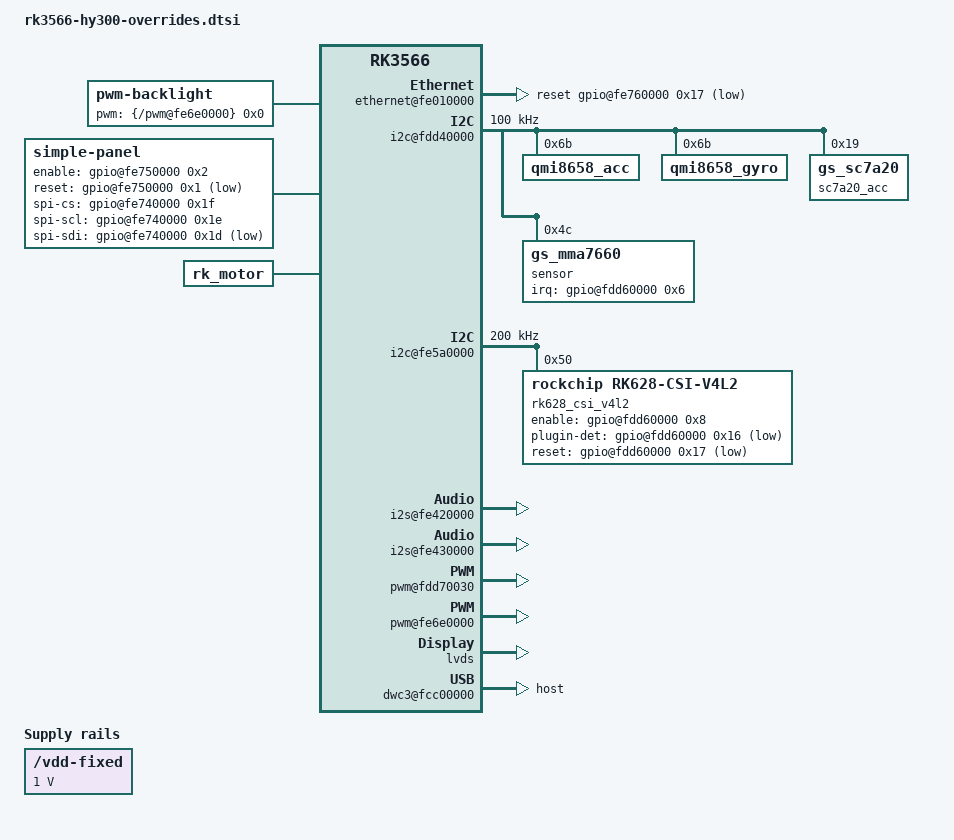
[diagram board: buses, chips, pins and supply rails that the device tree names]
/* Gerado por tools/dtoverride.py — sobrescritas sobre a placa de referência */

&{/adc-keys} { /delete-node/ vol-down-key; };
&{/adc-keys} { /delete-node/ vol-up-key; };
&{/cpu0-opp-table} { /delete-node/ opp-408000000; };
&{/cpu0-opp-table} { /delete-node/ opp-600000000; };
&{/csi2-dphy0/ports/port@0} { /delete-node/ endpoint@1; };
&{/csi2-dphy0/ports/port@0} { /delete-node/ endpoint@2; };
&{/csi2-dphy0/ports/port@1} { /delete-node/ endpoint@1; };
&{/gpio-leds} { /delete-node/ ir-led; };
&{/gpio-leds} { /delete-node/ work-led; };
&{/i2c@fe5b0000} { /delete-node/ gc4c33@29; };
&{/i2c@fe5b0000} { /delete-node/ gc8034@37; };
&{/opp-table2} { /delete-node/ opp-200000000; };
&{/opp-table2} { /delete-node/ opp-300000000; };
&{/pinctrl} { /delete-node/ audiopwm; };
&{/pinctrl} { /delete-node/ bt1120; };
&{/pinctrl} { /delete-node/ bt656; };
&{/pinctrl/cam} { /delete-node/ cam-clkout0; };
&{/pinctrl/cam} { /delete-node/ cam-clkout1; };
&{/pinctrl} { /delete-node/ can0; };
&{/pinctrl} { /delete-node/ can1; };
&{/pinctrl} { /delete-node/ can2; };
&{/pinctrl} { /delete-node/ cif; };
&{/pinctrl} { /delete-node/ clk32k; };
&{/pinctrl} { /delete-node/ cpu; };
&{/pinctrl/ebc} { /delete-node/ ebc-extern; };
&{/pinctrl} { /delete-node/ edpdp; };
&{/pinctrl} { /delete-node/ emmc; };
&{/pinctrl} { /delete-node/ eth0; };
&{/pinctrl} { /delete-node/ eth1; };
&{/pinctrl} { /delete-node/ flash; };
&{/pinctrl} { /delete-node/ fspi; };
&{/pinctrl} { /delete-node/ gmac-txc-level2; };
&{/pinctrl} { /delete-node/ gmac-txd-level3; };
&{/pinctrl} { /delete-node/ gmac0; };
&{/pinctrl/gmac1} { /delete-node/ gmac1m0-clkinout; };
&{/pinctrl/gmac1} { /delete-node/ gmac1m0-miim; };
&{/pinctrl/gmac1} { /delete-node/ gmac1m0-rgmii-bus; };
&{/pinctrl/gmac1} { /delete-node/ gmac1m0-rgmii-clk; };
&{/pinctrl/gmac1} { /delete-node/ gmac1m0-rx-bus2; };
&{/pinctrl/gmac1} { /delete-node/ gmac1m0-rx-er; };
&{/pinctrl/gmac1} { /delete-node/ gmac1m0-tx-bus2; };
&{/pinctrl/gmac1} { /delete-node/ gmac1m1-rx-er; };
&{/pinctrl} { /delete-node/ gpu; };
&{/pinctrl} { /delete-node/ hdmitx; };
&{/pinctrl/i2c2} { /delete-node/ i2c2m0-xfer; };
&{/pinctrl/i2c3} { /delete-node/ i2c3m1-xfer; };
&{/pinctrl/i2c4} { /delete-node/ i2c4m1-xfer; };
&{/pinctrl/i2c5} { /delete-node/ i2c5m1-xfer; };
&{/pinctrl/i2s1} { /delete-node/ i2s1m0-sdi0; };
&{/pinctrl/i2s1} { /delete-node/ i2s1m0-sdi1; };
&{/pinctrl/i2s1} { /delete-node/ i2s1m0-sdi2; };
&{/pinctrl/i2s1} { /delete-node/ i2s1m0-sdi3; };
&{/pinctrl/i2s1} { /delete-node/ i2s1m0-sdo1; };
&{/pinctrl/i2s1} { /delete-node/ i2s1m0-sdo2; };
&{/pinctrl/i2s1} { /delete-node/ i2s1m0-sdo3; };
&{/pinctrl/i2s1} { /delete-node/ i2s1m1-lrckrx; };
&{/pinctrl/i2s1} { /delete-node/ i2s1m1-lrcktx; };
&{/pinctrl/i2s1} { /delete-node/ i2s1m1-mclk; };
&{/pinctrl/i2s1} { /delete-node/ i2s1m1-sclkrx; };
&{/pinctrl/i2s1} { /delete-node/ i2s1m1-sclktx; };
&{/pinctrl/i2s1} { /delete-node/ i2s1m1-sdi0; };
&{/pinctrl/i2s1} { /delete-node/ i2s1m1-sdi1; };
&{/pinctrl/i2s1} { /delete-node/ i2s1m1-sdi2; };
&{/pinctrl/i2s1} { /delete-node/ i2s1m1-sdi3; };
&{/pinctrl/i2s1} { /delete-node/ i2s1m1-sdo0; };
&{/pinctrl/i2s1} { /delete-node/ i2s1m1-sdo1; };
&{/pinctrl/i2s1} { /delete-node/ i2s1m1-sdo2; };
&{/pinctrl/i2s1} { /delete-node/ i2s1m1-sdo3; };
&{/pinctrl/i2s1} { /delete-node/ i2s1m2-lrckrx; };
&{/pinctrl/i2s1} { /delete-node/ i2s1m2-lrcktx; };
&{/pinctrl/i2s1} { /delete-node/ i2s1m2-mclk; };
&{/pinctrl/i2s1} { /delete-node/ i2s1m2-sclkrx; };
&{/pinctrl/i2s1} { /delete-node/ i2s1m2-sclktx; };
&{/pinctrl/i2s1} { /delete-node/ i2s1m2-sdi0; };
&{/pinctrl/i2s1} { /delete-node/ i2s1m2-sdi1; };
&{/pinctrl/i2s1} { /delete-node/ i2s1m2-sdi2; };
&{/pinctrl/i2s1} { /delete-node/ i2s1m2-sdi3; };
&{/pinctrl/i2s1} { /delete-node/ i2s1m2-sdo0; };
&{/pinctrl/i2s1} { /delete-node/ i2s1m2-sdo1; };
&{/pinctrl/i2s1} { /delete-node/ i2s1m2-sdo2; };
&{/pinctrl/i2s1} { /delete-node/ i2s1m2-sdo3; };
&{/pinctrl/i2s2} { /delete-node/ i2s2m0-lrckrx; };
&{/pinctrl/i2s2} { /delete-node/ i2s2m0-mclk; };
&{/pinctrl/i2s2} { /delete-node/ i2s2m0-sclkrx; };
&{/pinctrl/i2s2} { /delete-node/ i2s2m1-lrckrx; };
&{/pinctrl/i2s2} { /delete-node/ i2s2m1-lrcktx; };
&{/pinctrl/i2s2} { /delete-node/ i2s2m1-mclk; };
&{/pinctrl/i2s2} { /delete-node/ i2s2m1-sclkrx; };
&{/pinctrl/i2s2} { /delete-node/ i2s2m1-sclktx; };
&{/pinctrl/i2s2} { /delete-node/ i2s2m1-sdi; };
&{/pinctrl/i2s2} { /delete-node/ i2s2m1-sdo; };
&{/pinctrl/i2s3} { /delete-node/ i2s3m0-mclk; };
&{/pinctrl/i2s3} { /delete-node/ i2s3m1-lrck; };
&{/pinctrl/i2s3} { /delete-node/ i2s3m1-mclk; };
&{/pinctrl/i2s3} { /delete-node/ i2s3m1-sclk; };
&{/pinctrl/i2s3} { /delete-node/ i2s3m1-sdi; };
&{/pinctrl/i2s3} { /delete-node/ i2s3m1-sdo; };
&{/pinctrl} { /delete-node/ isp; };
&{/pinctrl} { /delete-node/ jtag; };
&{/pinctrl} { /delete-node/ mcu; };
&{/pinctrl} { /delete-node/ npu; };
&{/pinctrl} { /delete-node/ pcfg-output-high; };
&{/pinctrl} { /delete-node/ pcfg-output-high-pull-down; };
&{/pinctrl} { /delete-node/ pcfg-output-high-pull-none; };
&{/pinctrl} { /delete-node/ pcfg-output-high-pull-up; };
&{/pinctrl} { /delete-node/ pcfg-output-low; };
&{/pinctrl} { /delete-node/ pcfg-output-low-pull-down; };
&{/pinctrl} { /delete-node/ pcfg-output-low-pull-none; };
&{/pinctrl} { /delete-node/ pcfg-output-low-pull-up; };
&{/pinctrl} { /delete-node/ pcfg-pull-down-drv-level-0; };
&{/pinctrl} { /delete-node/ pcfg-pull-down-drv-level-1; };
&{/pinctrl} { /delete-node/ pcfg-pull-down-drv-level-10; };
&{/pinctrl} { /delete-node/ pcfg-pull-down-drv-level-11; };
&{/pinctrl} { /delete-node/ pcfg-pull-down-drv-level-12; };
&{/pinctrl} { /delete-node/ pcfg-pull-down-drv-level-13; };
&{/pinctrl} { /delete-node/ pcfg-pull-down-drv-level-14; };
&{/pinctrl} { /delete-node/ pcfg-pull-down-drv-level-15; };
&{/pinctrl} { /delete-node/ pcfg-pull-down-drv-level-2; };
&{/pinctrl} { /delete-node/ pcfg-pull-down-drv-level-3; };
&{/pinctrl} { /delete-node/ pcfg-pull-down-drv-level-4; };
&{/pinctrl} { /delete-node/ pcfg-pull-down-drv-level-5; };
&{/pinctrl} { /delete-node/ pcfg-pull-down-drv-level-6; };
&{/pinctrl} { /delete-node/ pcfg-pull-down-drv-level-7; };
&{/pinctrl} { /delete-node/ pcfg-pull-down-drv-level-8; };
&{/pinctrl} { /delete-node/ pcfg-pull-down-drv-level-9; };
&{/pinctrl} { /delete-node/ pcfg-pull-down-smt; };
&{/pinctrl} { /delete-node/ pcfg-pull-none-drv-level-0; };
&{/pinctrl} { /delete-node/ pcfg-pull-none-drv-level-0-smt; };
&{/pinctrl} { /delete-node/ pcfg-pull-none-drv-level-10; };
&{/pinctrl} { /delete-node/ pcfg-pull-none-drv-level-11; };
&{/pinctrl} { /delete-node/ pcfg-pull-none-drv-level-12; };
&{/pinctrl} { /delete-node/ pcfg-pull-none-drv-level-13; };
&{/pinctrl} { /delete-node/ pcfg-pull-none-drv-level-14; };
&{/pinctrl} { /delete-node/ pcfg-pull-none-drv-level-15; };
&{/pinctrl} { /delete-node/ pcfg-pull-none-drv-level-4; };
&{/pinctrl} { /delete-node/ pcfg-pull-none-drv-level-5; };
&{/pinctrl} { /delete-node/ pcfg-pull-none-drv-level-6; };
&{/pinctrl} { /delete-node/ pcfg-pull-none-drv-level-7; };
&{/pinctrl} { /delete-node/ pcfg-pull-none-drv-level-8; };
&{/pinctrl} { /delete-node/ pcfg-pull-none-drv-level-9; };
&{/pinctrl} { /delete-node/ pcfg-pull-up-drv-level-0; };
&{/pinctrl} { /delete-node/ pcfg-pull-up-drv-level-10; };
&{/pinctrl} { /delete-node/ pcfg-pull-up-drv-level-11; };
&{/pinctrl} { /delete-node/ pcfg-pull-up-drv-level-12; };
&{/pinctrl} { /delete-node/ pcfg-pull-up-drv-level-13; };
&{/pinctrl} { /delete-node/ pcfg-pull-up-drv-level-14; };
&{/pinctrl} { /delete-node/ pcfg-pull-up-drv-level-15; };
&{/pinctrl} { /delete-node/ pcfg-pull-up-drv-level-3; };
&{/pinctrl} { /delete-node/ pcfg-pull-up-drv-level-5; };
&{/pinctrl} { /delete-node/ pcfg-pull-up-drv-level-6; };
&{/pinctrl} { /delete-node/ pcfg-pull-up-drv-level-7; };
&{/pinctrl} { /delete-node/ pcfg-pull-up-drv-level-8; };
&{/pinctrl} { /delete-node/ pcfg-pull-up-drv-level-9; };
&{/pinctrl} { /delete-node/ pcfg-pull-up-smt; };
&{/pinctrl} { /delete-node/ pcie20; };
&{/pinctrl} { /delete-node/ pcie30x1; };
&{/pinctrl} { /delete-node/ pcie30x2; };
&{/pinctrl/pdm} { /delete-node/ pdmm1-clk; };
&{/pinctrl/pdm} { /delete-node/ pdmm1-clk1; };
&{/pinctrl/pdm} { /delete-node/ pdmm1-sdi0; };
&{/pinctrl/pdm} { /delete-node/ pdmm1-sdi1; };
&{/pinctrl/pdm} { /delete-node/ pdmm1-sdi2; };
&{/pinctrl/pdm} { /delete-node/ pdmm1-sdi3; };
&{/pinctrl/pdm} { /delete-node/ pdmm2-clk1; };
&{/pinctrl/pdm} { /delete-node/ pdmm2-sdi0; };
&{/pinctrl/pdm} { /delete-node/ pdmm2-sdi1; };
&{/pinctrl/pdm} { /delete-node/ pdmm2-sdi2; };
&{/pinctrl/pdm} { /delete-node/ pdmm2-sdi3; };
&{/pinctrl} { /delete-node/ pmic; };
&{/pinctrl} { /delete-node/ pmu; };
&{/pinctrl/pwm0} { /delete-node/ pwm0m1-pins; };
&{/pinctrl/pwm1} { /delete-node/ pwm1m1-pins; };
&{/pinctrl/pwm10} { /delete-node/ pwm10m1-pins; };
&{/pinctrl/pwm11} { /delete-node/ pwm11m1-pins; };
&{/pinctrl/pwm12} { /delete-node/ pwm12m1-pins; };
&{/pinctrl/pwm13} { /delete-node/ pwm13m1-pins; };
&{/pinctrl/pwm14} { /delete-node/ pwm14m1-pins; };
&{/pinctrl/pwm15} { /delete-node/ pwm15m1-pins; };
&{/pinctrl/pwm2} { /delete-node/ pwm2m1-pins; };
&{/pinctrl/pwm8} { /delete-node/ pwm8m1-pins; };
&{/pinctrl/pwm9} { /delete-node/ pwm9m1-pins; };
&{/pinctrl} { /delete-node/ refclk; };
&{/pinctrl} { /delete-node/ sata; };
&{/pinctrl} { /delete-node/ sata0; };
&{/pinctrl} { /delete-node/ sata1; };
&{/pinctrl} { /delete-node/ sata2; };
&{/pinctrl/sdmmc0} { /delete-node/ sdmmc0-pwren; };
&{/pinctrl/sdmmc1} { /delete-node/ sdmmc1-det; };
&{/pinctrl/sdmmc1} { /delete-node/ sdmmc1-pwren; };
&{/pinctrl} { /delete-node/ sdmmc2; };
&{/pinctrl/spdif} { /delete-node/ spdifm1-tx; };
&{/pinctrl/spdif} { /delete-node/ spdifm2-tx; };
&{/pinctrl/spi0-hs} { /delete-node/ spi0m0-cs0; };
&{/pinctrl/spi0-hs} { /delete-node/ spi0m0-cs1; };
&{/pinctrl/spi0-hs} { /delete-node/ spi0m1-cs0; };
&{/pinctrl/spi0-hs} { /delete-node/ spi0m1-pins; };
&{/pinctrl/spi0} { /delete-node/ spi0m1-cs0; };
&{/pinctrl/spi0} { /delete-node/ spi0m1-pins; };
&{/pinctrl/spi1-hs} { /delete-node/ spi1m0-cs0; };
&{/pinctrl/spi1-hs} { /delete-node/ spi1m0-cs1; };
&{/pinctrl/spi1-hs} { /delete-node/ spi1m1-cs0; };
&{/pinctrl/spi1-hs} { /delete-node/ spi1m1-pins; };
&{/pinctrl/spi1} { /delete-node/ spi1m1-cs0; };
&{/pinctrl/spi1} { /delete-node/ spi1m1-pins; };
&{/pinctrl/spi2-hs} { /delete-node/ spi2m0-cs0; };
&{/pinctrl/spi2-hs} { /delete-node/ spi2m0-cs1; };
&{/pinctrl/spi2-hs} { /delete-node/ spi2m1-cs0; };
&{/pinctrl/spi2-hs} { /delete-node/ spi2m1-cs1; };
&{/pinctrl/spi2-hs} { /delete-node/ spi2m1-pins; };
&{/pinctrl/spi2} { /delete-node/ spi2m1-cs0; };
&{/pinctrl/spi2} { /delete-node/ spi2m1-cs1; };
&{/pinctrl/spi2} { /delete-node/ spi2m1-pins; };
&{/pinctrl/spi3-hs} { /delete-node/ spi3m0-cs0; };
&{/pinctrl/spi3-hs} { /delete-node/ spi3m0-cs1; };
&{/pinctrl/spi3-hs} { /delete-node/ spi3m1-cs0; };
&{/pinctrl/spi3-hs} { /delete-node/ spi3m1-cs1; };
&{/pinctrl/spi3-hs} { /delete-node/ spi3m1-pins; };
&{/pinctrl/spi3} { /delete-node/ spi3m1-cs0; };
&{/pinctrl/spi3} { /delete-node/ spi3m1-cs1; };
&{/pinctrl/spi3} { /delete-node/ spi3m1-pins; };
&{/pinctrl/tsadc} { /delete-node/ tsadcm0-shut; };
&{/pinctrl/tsadc} { /delete-node/ tsadcm1-shut; };
&{/pinctrl/uart0} { /delete-node/ uart0-ctsn; };
&{/pinctrl/uart0} { /delete-node/ uart0-rtsn; };
&{/pinctrl/uart1} { /delete-node/ uart1m1-ctsn; };
&{/pinctrl/uart1} { /delete-node/ uart1m1-rtsn; };
&{/pinctrl/uart1} { /delete-node/ uart1m1-xfer; };
&{/pinctrl/uart2} { /delete-node/ uart2m1-xfer; };
&{/pinctrl/uart3} { /delete-node/ uart3m0-ctsn; };
&{/pinctrl/uart3} { /delete-node/ uart3m0-rtsn; };
&{/pinctrl/uart3} { /delete-node/ uart3m1-xfer; };
&{/pinctrl/uart4} { /delete-node/ uart4m0-ctsn; };
&{/pinctrl/uart4} { /delete-node/ uart4m0-rtsn; };
&{/pinctrl/uart4} { /delete-node/ uart4m1-xfer; };
&{/pinctrl/uart5} { /delete-node/ uart5m0-ctsn; };
&{/pinctrl/uart5} { /delete-node/ uart5m0-rtsn; };
&{/pinctrl/uart5} { /delete-node/ uart5m1-xfer; };
&{/pinctrl/uart6} { /delete-node/ uart6m0-ctsn; };
&{/pinctrl/uart6} { /delete-node/ uart6m0-rtsn; };
&{/pinctrl/uart6} { /delete-node/ uart6m1-xfer; };
&{/pinctrl/uart7} { /delete-node/ uart7m0-ctsn; };
&{/pinctrl/uart7} { /delete-node/ uart7m0-rtsn; };
&{/pinctrl/uart7} { /delete-node/ uart7m1-xfer; };
&{/pinctrl/uart7} { /delete-node/ uart7m2-xfer; };
&{/pinctrl/uart8} { /delete-node/ uart8m0-ctsn; };
&{/pinctrl/uart8} { /delete-node/ uart8m0-rtsn; };
&{/pinctrl/uart8} { /delete-node/ uart8m1-xfer; };
&{/pinctrl/uart9} { /delete-node/ uart9m0-ctsn; };
&{/pinctrl/uart9} { /delete-node/ uart9m0-rtsn; };
&{/pinctrl/uart9} { /delete-node/ uart9m1-xfer; };
&{/pinctrl/uart9} { /delete-node/ uart9m2-xfer; };
&{/pinctrl} { /delete-node/ vop; };
&{/pwm@fe700030} { /delete-node/ ir_key1; };
&{/pwm@fe700030} { /delete-node/ ir_key2; };
&{/pwm@fe700030} { /delete-node/ ir_key3; };
&{/reserved-memory} { /delete-node/ linux,cma; };

&{/adc-keys} {
	io-channels = <&{/saradc@fe720000} 0x1>;
	status = "okay";
};
&{/adc-keys} {
	back-key {
		label = "back";
		linux,code = <0x9e>;
		press-threshold-microvolt = <0x1f4>;
	};
};
&{/adc-keys} {
	down-key {
		label = "down";
		linux,code = <0x6c>;
		press-threshold-microvolt = <0x3d4>;
	};
};
&{/adc-keys} {
	left-key {
		label = "left";
		linux,code = <0x69>;
		press-threshold-microvolt = <0x140>;
	};
};
&{/adc-keys} {
	ok-key {
		label = "ok";
		linux,code = <0x1c>;
		press-threshold-microvolt = <0xa0>;
	};
};
&{/adc-keys} {
	right-key {
		label = "right";
		linux,code = <0x6a>;
		press-threshold-microvolt = <0x28>;
	};
};
&{/adc-keys} {
	up-key {
		label = "up";
		linux,code = <0x67>;
		press-threshold-microvolt = <0x541>;
	};
};
&{/} {
	backlight {
		brightness-levels = <0x0 0x1 0x2 0x3 0x4 0x5 0x6 0x7 0x8 0x9 0xa 0xb 0xc 0xd 0xe 0xf 0x10 0x11 0x12 0x13 0x14 0x15 0x16 0x17 0x18 0x19 0x1a 0x1b 0x1c 0x1d 0x1e 0x1f 0x20 0x21 0x22 0x23 0x24 0x25 0x26 0x27 0x28 0x29 0x2a 0x2b 0x2c 0x2d 0x2e 0x2f 0x30 0x31 0x32 0x33 0x34 0x35 0x36 0x37 0x38 0x39 0x3a 0x3b 0x3c 0x3d 0x3e 0x3f 0x40 0x41 0x42 0x43 0x44 0x45 0x46 0x47 0x48 0x49 0x4a 0x4b 0x4c 0x4d 0x4e 0x4f 0x50 0x51 0x52 0x53 0x54 0x55 0x56 0x57 0x58 0x59 0x5a 0x5b 0x5c 0x5d 0x5e 0x5f 0x60 0x61 0x62 0x63 0x64 0x65 0x66 0x67 0x68 0x69 0x6a 0x6b 0x6c 0x6d 0x6e 0x6f 0x70 0x71 0x72 0x73 0x74 0x75 0x76 0x77 0x78 0x79 0x7a 0x7b 0x7c 0x7d 0x7e 0x7f 0x80 0x81 0x82 0x83 0x84 0x85 0x86 0x87 0x88 0x89 0x8a 0x8b 0x8c 0x8d 0x8e 0x8f 0x90 0x91 0x92 0x93 0x94 0x95 0x96 0x97 0x98 0x99 0x9a 0x9b 0x9c 0x9d 0x9e 0x9f 0xa0 0xa1 0xa2 0xa3 0xa4 0xa5 0xa6 0xa7 0xa8 0xa9 0xaa 0xab 0xac 0xad 0xae 0xaf 0xb0 0xb1 0xb2 0xb3 0xb4 0xb5 0xb6 0xb7 0xb8 0xb9 0xba 0xbb 0xbc 0xbd 0xbe 0xbf 0xc0 0xc1 0xc2 0xc3 0xc4 0xc5 0xc6 0xc7 0xc8 0xc9 0xca 0xcb 0xcc 0xcd 0xce 0xcf 0xd0 0xd1 0xd2 0xd3 0xd4 0xd5 0xd6 0xd7 0xd8 0xd9 0xda 0xdb 0xdc 0xdd 0xde 0xdf 0xe0 0xe1 0xe2 0xe3 0xe4 0xe5 0xe6 0xe7 0xe8 0xe9 0xea 0xeb 0xec 0xed 0xee 0xef 0xf0 0xf1 0xf2 0xf3 0xf4 0xf5 0xf6 0xf7 0xf8 0xf9 0xfa 0xfb 0xfc 0xfd 0xfe 0xff>;
		compatible = "pwm-backlight";
		default-brightness-level = <0xc8>;
		pwms = <&{/pwm@fe6e0000} 0x0 0x61a8 0x0>;
	};
};
&{/bus-npu-opp-table/opp-1000000000} {
	opp-microvolt-L2 = <0xcf850>;
};
&{/bus-npu-opp-table/opp-700000000} {
	opp-microvolt = <0xdbba0>;
	opp-microvolt-L0 = <0xdbba0>;
	opp-microvolt-L1 = <0xcf850>;
	opp-microvolt-L2 = <0xcf850>;
};
&{/can@fe570000} {
	compatible = "rockchip,rk3568-can-2.0";
};
&{/can@fe580000} {
	compatible = "rockchip,rk3568-can-2.0";
};
&{/can@fe590000} {
	compatible = "rockchip,rk3568-can-2.0";
};
&{/cpu0-opp-table/opp-1104000000} {
	opp-microvolt-L3 = <0xdbba0 0xdbba0 0x118c30>;
};
&{/cpu0-opp-table/opp-1416000000} {
	opp-microvolt-L3 = <0xf4240 0xf4240 0x118c30>;
};
&{/cpu0-opp-table/opp-816000000} {
	opp-microvolt-L3 = <0xdbba0 0xdbba0 0x118c30>;
};
&{/cpuinfo} {
	nvmem-cell-names = "id", "cpu-version", "cpu-code", "performance";
	nvmem-cells = <&{/otp@fe38c000/id@a}>, <&{/otp@fe38c000/cpu-version@8}>, <&{/otp@fe38c000/cpu-code@2}>, <&{/otp@fe38c000/performance@22}>;
};
&{/csi2-dphy0/ports/port@0} {
	endpoint@0 {
		data-lanes = <0x1 0x2 0x3 0x4>;
		reg = <0x0>;
		remote-endpoint = <&{/i2c@fe5a0000/rk628_csi_v4l2@50/port/endpoint}>;
	};
};
&{/csi2-dphy0/ports/port@1} {
	endpoint@0 {
		reg = <0x0>;
		remote-endpoint = <&{/rkisp-vir0/port/endpoint@0}>;
	};
};
&{/display-subsystem/route/route-dsi0} {
	connect = <&{/vop@fe040000/ports/port@1/endpoint@0}>;
};
&{/display-subsystem/route/route-hdmi} {
	status = "disabled";
};
&{/display-subsystem/route/route-lvds} {
	status = "okay";
};
&{/dmc} {
	devfreq-events = <0x8b 0x8c>;
	system-status-level = <0x1 0x8 0x8 0x4 0x2 0x1 0x10 0x8 0x10000 0x8 0x1000 0x8 0x4000 0x8 0x2000 0x8 0xc00 0x8>;
};
&{/dmc-fsp} {
	ddr3_params = <0x8e>;
	ddr4_params = <0x8f>;
	lpddr3_params = <0x90>;
	lpddr4_params = <0x91>;
	lpddr4x_params = <0x92>;
};
&{/dmc-opp-table/opp-1560000000} {
	opp-microvolt-L3 = <0xdbba0>;
};
&{/} {
	dummy-codec {
		#sound-dai-cells = <0x0>;
		assigned-clock-parents = <&{/clock-controller@fdd20000} 0x48>, <&{/clock-controller@fdd20000} 0x48>;
		assigned-clock-rates = <0xbb8000>;
		assigned-clocks = <&{/clock-controller@fdd20000} 0x1a3>, <&{/clock-controller@fdd20000} 0x1a6>;
		clock-names = "mclk";
		clocks = <&{/clock-controller@fdd20000} 0x1a3>;
		compatible = "rockchip,dummy-codec";
		pinctrl-0 = <&{/pinctrl/i2s1/i2s1m0-mclk}>;
		pinctrl-names = "default";
		status = "okay";
	};
};
&{/dwmmc@fe2c0000} {
	max-frequency = <0x2faf080>;
};
&{/ethernet@fe010000} {
	snps,reset-gpio = <&{/pinctrl/gpio@fe760000} 0x17 0x1>;
};
&{/} {
	gpio-keys {
		autorepeat;
		compatible = "gpio-keys";
		status = "okay";
	};
};
&{/gpio-keys} {
	POWER {
		debounce-interval = <0xa>;
		interrupt-parent = <&{/pinctrl/gpio@fe740000}>;
		interrupts = <0x0 0x8>;
		label = "GPIO Key Home";
		linux,code = <0x74>;
		linux,input-type = <0x1>;
	};
};
&{/gpio-leds} {
	Fan_h {
		default-state = "on";
		gpios = <&{/pinctrl/gpio@fdd60000} 0xd 0x0>;
		linux,default-trigger = "none";
		retain-state-suspended;
	};
};
&{/gpio-leds} {
	Lcd_power {
		default-state = "keep";
		gpios = <&{/pinctrl/gpio@fdd60000} 0x14 0x0>;
		linux,default-trigger = "none";
		retain-state-suspended;
	};
};
&{/gpio-leds} {
	green {
		default-state = "on";
		gpios = <&{/pinctrl/gpio@fe740000} 0x8 0x1>;
		linux,default-trigger = "none";
		retain-state-suspended;
	};
};
&{/gpio-leds} {
	red {
		default-state = "on";
		gpios = <&{/pinctrl/gpio@fe740000} 0x9 0x0>;
		linux,default-trigger = "none";
		retain-state-suspended;
	};
};
&{/} {
	hdmi-codec {
		#sound-dai-cells = <0x0>;
		compatible = "rockchip,dummy-codec";
		status = "okay";
	};
};
&{/} {
	hdmi-in-sound {
		compatible = "simple-audio-card";
		simple-audio-card,bitclock-master = <&{/hdmi-in-sound/simple-audio-card,codec}>;
		simple-audio-card,format = "i2s";
		simple-audio-card,frame-master = <&{/hdmi-in-sound/simple-audio-card,codec}>;
		simple-audio-card,name = "rockchip,hdmiin";
		status = "okay";
	};
};
&{/hdmi-in-sound} {
	simple-audio-card,codec {
		sound-dai = <&{/hdmi-codec}>;
	};
};
&{/hdmi-in-sound} {
	simple-audio-card,cpu {
		sound-dai = <&{/i2s@fe430000}>;
	};
};
&{/hdmi@fe0a0000} {
	/delete-property/ pinctrl-0;
	status = "disabled";
};
&{/hdmi@fe0a0000/ports/port/endpoint@0} {
	status = "disabled";
};
&{/i2c@fdd40000} {
	clock-frequency = <0x186a0>;
	status = "okay";
};
&{/i2c@fdd40000} {
	qmi8658_acc@6b {
		compatible = "qmi8658_acc";
		irq_enable = <0x0>;
		layout = <0x1>;
		poll_delay_ms = <0x1e>;
		reg = <0x6b>;
		reprobe_en = <0x1>;
		status = "okay";
		type = <0x2>;
	};
};
&{/i2c@fdd40000} {
	qmi8658_gyro@6b {
		compatible = "qmi8658_gyro";
		irq_enable = <0x0>;
		layout = <0x1>;
		poll_delay_ms = <0x1e>;
		reg = <0x6b>;
		reprobe_en = <0x1>;
		status = "okay";
		type = <0x4>;
	};
};
&{/i2c@fdd40000} {
	sc7a20_acc@19 {
		compatible = "gs_sc7a20";
		irq_enable = <0x0>;
		layout = <0x1>;
		poll_delay_ms = <0x1e>;
		reg = <0x19>;
		reprobe_en = <0x1>;
		status = "okay";
		type = <0x2>;
	};
};
&{/i2c@fdd40000} {
	sensor@4c {
		compatible = "gs_mma7660";
		irq-gpio = <&{/pinctrl/gpio@fdd60000} 0x6 0x8>;
		irq_enable = <0x0>;
		layout = <0x3>;
		poll_delay_ms = <0x5>;
		reg = <0x4c>;
		reprobe_en = <0x1>;
		status = "okay";
		type = <0x2>;
	};
};
&{/i2c@fe5a0000} {
	clock-frequency = <0x30d40>;
	status = "okay";
};
&{/i2c@fe5a0000} {
	rk628_csi_v4l2@50 {
		compatible = "rockchip,rk628-csi-v4l2";
		enable-gpios = <&{/pinctrl/gpio@fdd60000} 0x8 0x0>;
		hdcp-enable = <0x1>;
		interrupt-parent = <&{/pinctrl/gpio@fdd60000}>;
		interrupts = <0x15 0x4>;
		pinctrl-0 = <&{/pinctrl/rk628/rk628_plugin-h}>;
		pinctrl-names = "default";
		plugin-det-gpios = <&{/pinctrl/gpio@fdd60000} 0x16 0x1>;
		reg = <0x50>;
		reset-gpios = <&{/pinctrl/gpio@fdd60000} 0x17 0x1>;
		rockchip,camera-module-facing = "back";
		rockchip,camera-module-index = <0x0>;
		rockchip,camera-module-lens-name = "NC";
		rockchip,camera-module-name = "RK628-CSI";
	};
};
&{/i2c@fe5a0000/rk628_csi_v4l2@50} {
	port {

	};
};
&{/i2c@fe5a0000/rk628_csi_v4l2@50/port} {
	endpoint {
		data-lanes = <0x1 0x2 0x3 0x4>;
		remote-endpoint = <&{/csi2-dphy0/ports/port@0/endpoint@0}>;
	};
};
&{/i2c@fe5b0000} {
	status = "disabled";
};
&{/i2s@fe410000} {
	/delete-property/ rockchip,clk-trcm;
	pinctrl-0 = <&{/pinctrl/i2s1/i2s1m0-sclktx}>, <&{/pinctrl/i2s1/i2s1m0-sclkrx}>, <&{/pinctrl/i2s1/i2s1m0-lrcktx}>, <&{/pinctrl/i2s1/i2s1m0-lrckrx}>, <&{/pinctrl/i2s1/i2s1m0-sdo0}>;
};
&{/i2s@fe420000} {
	status = "okay";
};
&{/i2s@fe430000} {
	status = "okay";
};
&{/iommu@fde4b000} {
	status = "disabled";
};
&{/iommu@fdf40f00} {
	rockchip,shootdown-entire;
};
&{/iommu@fdf80800} {
	rockchip,shootdown-entire;
};
&{/npu@fde40000} {
	status = "disabled";
};
&{/opp-table2/opp-400000000} {
	opp-microvolt-L3 = <0xf4240>;
};
&{/opp-table2/opp-600000000} {
	opp-microvolt-L3 = <0xf4240>;
};
&{/opp-table2/opp-700000000} {
	opp-microvolt-L3 = <0xf4240>;
};
&{/opp-table2} {
	opp-800000000 {
		opp-hz = <0x0 0x2faf0800>;
		opp-microvolt = <0xf4240>;
		opp-microvolt-L0 = <0xf4240>;
		opp-microvolt-L1 = <0xe7ef0>;
		opp-microvolt-L2 = <0xdbba0>;
		opp-microvolt-L3 = <0xf4240>;
	};
};
&{/otp@fe38c000} {
	cpu-tsadc-trim-h@2f {
		bits = <0x0 0x4>;
		reg = <0x2f 0x1>;
	};
};
&{/otp@fe38c000} {
	cpu-tsadc-trim-l@2e {
		reg = <0x2e 0x1>;
	};
};
&{/otp@fe38c000} {
	npu-tsadc-trim-h@31 {
		bits = <0x0 0x4>;
		reg = <0x31 0x1>;
	};
};
&{/otp@fe38c000} {
	npu-tsadc-trim-l@30 {
		reg = <0x30 0x1>;
	};
};
&{/otp@fe38c000} {
	performance@22 {
		bits = <0x0 0x4>;
		reg = <0x22 0x1>;
	};
};
&{/otp@fe38c000} {
	tsadc-trim-base-frac@31 {
		bits = <0x4 0x4>;
		reg = <0x31 0x1>;
	};
};
&{/otp@fe38c000} {
	tsadc-trim-base@32 {
		reg = <0x32 0x1>;
	};
};
&{/} {
	panel {
		compatible = "simple-panel";
		disable-delay-ms = <0x14>;
		enable-delay-ms = <0x14>;
		enable-gpios = <&{/pinctrl/gpio@fe750000} 0x2 0x0>;
		height-mm = <0x88>;
		pinctrl-0 = <&{/pinctrl/panel/lcd-rst-gpio}>, <&{/pinctrl/panel/lcd-enable-gpio}>, <&{/pinctrl/panel/lcd-sda}>, <&{/pinctrl/panel/lcd-scl}>, <&{/pinctrl/panel/lcd-cs}>, <&{/pinctrl/panel/lcd-stb}>;
		pinctrl-names = "default";
		power-supply = <&{/vcc_3v3}>;
		prepare-delay-ms = <0x14>;
		reset-gpios = <&{/pinctrl/gpio@fe750000} 0x1 0x1>;
		spi-cs-gpios = <&{/pinctrl/gpio@fe740000} 0x1f 0x0>;
		spi-scl-gpios = <&{/pinctrl/gpio@fe740000} 0x1e 0x0>;
		spi-sdi-gpios = <&{/pinctrl/gpio@fe740000} 0x1d 0x1>;
		unprepare-delay-ms = <0x14>;
		width-mm = <0xd9>;
	};
};
&{/panel} {
	display-timings {
		native-mode = <0x119>;
	};
};
&{/panel/display-timings} {
	timing0 {
		clock-frequency = <0x26553b8>;
		de-active = <0x0>;
		hactive = <0x400>;
		hback-porch = <0x14>;
		hfront-porch = <0x14>;
		hsync-active = <0x0>;
		hsync-len = <0x14>;
		pixelclk-active = <0x0>;
		vactive = <0x258>;
		vback-porch = <0x4>;
		vfront-porch = <0xa>;
		vsync-active = <0x0>;
		vsync-len = <0x4>;
	};
};
&{/panel} {
	ports {
		#address-cells = <0x1>;
		#size-cells = <0x0>;
	};
};
&{/panel/ports} {
	port@0 {
		dual-lvds-even-pixels;
		reg = <0x0>;
	};
};
&{/panel/ports/port@0} {
	endpoint {
		remote-endpoint = <&{/syscon@fdc60000/lvds/ports/port@1/endpoint}>;
	};
};
&{/pinctrl/acodec/acodec-pins} {
	rockchip,pins = <0x1 0x9 0x5 0xf6 0x1 0x1 0x5 0xf6 0x1 0x0 0x5 0xf6 0x1 0x7 0x5 0xf6 0x1 0x8 0x5 0xf6 0x1 0x3 0x5 0xf6 0x1 0x5 0x5 0xf6>;
};
&{/pinctrl/cam/camera-pwr} {
	rockchip,pins = <0x0 0x13 0x0 0xf6>;
};
&{/pinctrl/ebc/ebc-pins} {
	rockchip,pins = <0x4 0x10 0x2 0xf6 0x4 0xb 0x2 0xf6 0x4 0xc 0x2 0xf6 0x4 0x6 0x2 0xf6 0x4 0x11 0x2 0xf6 0x3 0x16 0x2 0xf6 0x3 0x17 0x2 0xf6 0x3 0x18 0x2 0xf6 0x3 0x19 0x2 0xf6 0x3 0x1a 0x2 0xf6 0x3 0x1b 0x2 0xf6 0x3 0x1c 0x2 0xf6 0x3 0x1d 0x2 0xf6 0x3 0x1e 0x2 0xf6 0x3 0x1f 0x2 0xf6 0x4 0x0 0x2 0xf6 0x4 0x1 0x2 0xf6 0x4 0x2 0x2 0xf6 0x4 0x3 0x2 0xf6 0x4 0x4 0x2 0xf6 0x4 0x5 0x2 0xf6 0x4 0xe 0x2 0xf6 0x4 0xf 0x2 0xf6>;
};
&{/pinctrl/gmac1/gmac1m1-clkinout} {
	rockchip,pins = <0x4 0x11 0x3 0xf6>;
};
&{/pinctrl/gmac1/gmac1m1-miim} {
	rockchip,pins = <0x4 0xe 0x3 0xf6 0x4 0xf 0x3 0xf6>;
};
&{/pinctrl/gmac1/gmac1m1-rgmii-bus} {
	rockchip,pins = <0x4 0x1 0x3 0xf6 0x4 0x2 0x3 0xf6 0x3 0x1e 0x3 0xf9 0x3 0x1f 0x3 0xf9>;
};
&{/pinctrl/gmac1/gmac1m1-rgmii-clk} {
	rockchip,pins = <0x4 0x3 0x3 0xf6 0x4 0x0 0x3 0xfa>;
};
&{/pinctrl/gmac1/gmac1m1-rx-bus2} {
	rockchip,pins = <0x4 0x7 0x3 0xf6 0x4 0x8 0x3 0xf6 0x4 0x9 0x3 0xf6>;
};
&{/pinctrl/gmac1/gmac1m1-tx-bus2} {
	rockchip,pins = <0x4 0x4 0x3 0xf9 0x4 0x5 0x3 0xf9 0x4 0x6 0x3 0xf6>;
};
&{/pinctrl/gpio-func/tsadc-gpio-func} {
	rockchip,pins = <0x0 0x1 0x0 0xf6>;
};
&{/pinctrl/gpio@fdd60000} {
	gpio-ranges = <0xf5 0x0 0x0 0x20>;
};
&{/pinctrl/gpio@fe740000} {
	gpio-ranges = <0xf5 0x0 0x20 0x20>;
};
&{/pinctrl/gpio@fe750000} {
	gpio-ranges = <0xf5 0x0 0x40 0x20>;
};
&{/pinctrl/gpio@fe760000} {
	gpio-ranges = <0xf5 0x0 0x60 0x20>;
};
&{/pinctrl/gpio@fe770000} {
	gpio-ranges = <0xf5 0x0 0x80 0x20>;
};
&{/pinctrl/i2c0/i2c0-xfer} {
	rockchip,pins = <0x0 0x9 0x1 0xfb 0x0 0xa 0x1 0xfb>;
};
&{/pinctrl/i2c1/i2c1-xfer} {
	rockchip,pins = <0x0 0xb 0x1 0xfb 0x0 0xc 0x1 0xfb>;
};
&{/pinctrl/i2c2/i2c2m1-xfer} {
	rockchip,pins = <0x4 0xd 0x1 0xfb 0x4 0xc 0x1 0xfb>;
};
&{/pinctrl/i2c3/i2c3m0-xfer} {
	rockchip,pins = <0x1 0x1 0x1 0xfb 0x1 0x0 0x1 0xfb>;
};
&{/pinctrl/i2c4/i2c4m0-xfer} {
	rockchip,pins = <0x4 0xb 0x1 0xfb 0x4 0xa 0x1 0xfb>;
};
&{/pinctrl/i2c5/i2c5m0-xfer} {
	rockchip,pins = <0x3 0xb 0x4 0xfb 0x3 0xc 0x4 0xfb>;
};
&{/pinctrl/i2s1/i2s1m0-lrckrx} {
	rockchip,pins = <0x1 0x6 0x1 0xf6>;
};
&{/pinctrl/i2s1/i2s1m0-lrcktx} {
	rockchip,pins = <0x1 0x5 0x1 0xf6>;
};
&{/pinctrl/i2s1/i2s1m0-mclk} {
	rockchip,pins = <0x1 0x2 0x1 0xf6>;
};
&{/pinctrl/i2s1/i2s1m0-sclkrx} {
	rockchip,pins = <0x1 0x4 0x1 0xf6>;
};
&{/pinctrl/i2s1/i2s1m0-sclktx} {
	rockchip,pins = <0x1 0x3 0x1 0xf6>;
};
&{/pinctrl/i2s1/i2s1m0-sdo0} {
	rockchip,pins = <0x1 0x7 0x1 0xf6>;
};
&{/pinctrl/i2s2/i2s2m0-lrcktx} {
	rockchip,pins = <0x2 0x13 0x1 0xf6>;
};
&{/pinctrl/i2s2/i2s2m0-sclktx} {
	rockchip,pins = <0x2 0x12 0x1 0xf6>;
};
&{/pinctrl/i2s2/i2s2m0-sdi} {
	rockchip,pins = <0x2 0x15 0x1 0xf6>;
};
&{/pinctrl/i2s2/i2s2m0-sdo} {
	rockchip,pins = <0x2 0x14 0x1 0xf6>;
};
&{/pinctrl/i2s3/i2s3m0-lrck} {
	rockchip,pins = <0x3 0x4 0x4 0xf6>;
};
&{/pinctrl/i2s3/i2s3m0-sclk} {
	rockchip,pins = <0x3 0x3 0x4 0xf6>;
};
&{/pinctrl/i2s3/i2s3m0-sdi} {
	rockchip,pins = <0x3 0x6 0x4 0xf6>;
};
&{/pinctrl/i2s3/i2s3m0-sdo} {
	rockchip,pins = <0x3 0x5 0x4 0xf6>;
};
&{/pinctrl/lcdc/lcdc-ctl} {
	rockchip,pins = <0x3 0x0 0x1 0xf6 0x2 0x18 0x1 0xf6 0x2 0x19 0x1 0xf6 0x2 0x1a 0x1 0xf6 0x2 0x1b 0x1 0xf6 0x2 0x1c 0x1 0xf6 0x2 0x1d 0x1 0xf6 0x2 0x1e 0x1 0xf6 0x2 0x1f 0x1 0xf6 0x3 0x1 0x1 0xf6 0x3 0x2 0x1 0xf6 0x3 0x3 0x1 0xf6 0x3 0x4 0x1 0xf6 0x3 0x5 0x1 0xf6 0x3 0x6 0x1 0xf6 0x3 0x7 0x1 0xf6 0x3 0x8 0x1 0xf6 0x3 0x9 0x1 0xf6 0x3 0xa 0x1 0xf6 0x3 0xb 0x1 0xf6 0x3 0xc 0x1 0xf6 0x3 0xd 0x1 0xf6 0x3 0xe 0x1 0xf6 0x3 0xf 0x1 0xf6 0x3 0x10 0x1 0xf6 0x3 0x13 0x1 0xf6 0x3 0x11 0x1 0xf6 0x3 0x12 0x1 0xf6>;
};
&{/pinctrl} {
	panel {

	};
};
&{/pinctrl/panel} {
	lcd-cs {
		rockchip,pins = <0x1 0x1f 0x0 0xf8>;
	};
};
&{/pinctrl/panel} {
	lcd-enable-gpio {
		rockchip,pins = <0x2 0x2 0x0 0xf6>;
	};
};
&{/pinctrl/panel} {
	lcd-rst-gpio {
		rockchip,pins = <0x2 0x1 0x0 0xf6>;
	};
};
&{/pinctrl/panel} {
	lcd-scl {
		rockchip,pins = <0x1 0x1e 0x0 0xf8>;
	};
};
&{/pinctrl/panel} {
	lcd-sda {
		rockchip,pins = <0x1 0x1d 0x0 0xf8>;
	};
};
&{/pinctrl/panel} {
	lcd-stb {
		rockchip,pins = <0x2 0x0 0x0 0xf8>;
	};
};
&{/pinctrl/pdm/pdmm0-clk} {
	rockchip,pins = <0x1 0x6 0x3 0xf6>;
};
&{/pinctrl/pdm/pdmm0-clk1} {
	rockchip,pins = <0x1 0x4 0x3 0xf6>;
};
&{/pinctrl/pdm/pdmm0-sdi0} {
	rockchip,pins = <0x1 0xb 0x2 0xf6>;
};
&{/pinctrl/pdm/pdmm0-sdi1} {
	rockchip,pins = <0x1 0xa 0x3 0xf6>;
};
&{/pinctrl/pdm/pdmm0-sdi2} {
	rockchip,pins = <0x1 0x9 0x3 0xf6>;
};
&{/pinctrl/pdm/pdmm0-sdi3} {
	rockchip,pins = <0x1 0x8 0x3 0xf6>;
};
&{/pinctrl/pwm0/pwm0m0-pins} {
	rockchip,pins = <0x0 0xf 0x1 0xf6>;
};
&{/pinctrl/pwm1/pwm1m0-pins} {
	rockchip,pins = <0x0 0x10 0x1 0xf6>;
};
&{/pinctrl/pwm10/pwm10m0-pins} {
	rockchip,pins = <0x3 0xd 0x5 0xf6>;
};
&{/pinctrl/pwm11/pwm11m0-pins} {
	rockchip,pins = <0x3 0xe 0x5 0xf6>;
};
&{/pinctrl/pwm12/pwm12m0-pins} {
	rockchip,pins = <0x3 0xf 0x2 0xf6>;
};
&{/pinctrl/pwm13/pwm13m0-pins} {
	rockchip,pins = <0x3 0x10 0x2 0xf6>;
};
&{/pinctrl/pwm14/pwm14m0-pins} {
	rockchip,pins = <0x3 0x14 0x1 0xf6>;
};
&{/pinctrl/pwm15/pwm15m0-pins} {
	rockchip,pins = <0x3 0x15 0x1 0xf6>;
};
&{/pinctrl/pwm2/pwm2m0-pins} {
	rockchip,pins = <0x0 0x11 0x1 0xf6>;
};
&{/pinctrl/pwm3/pwm3-pins} {
	rockchip,pins = <0x0 0x12 0x1 0xf6>;
};
&{/pinctrl/pwm4/pwm4-pins} {
	rockchip,pins = <0x0 0x13 0x1 0xf6>;
};
&{/pinctrl/pwm5/pwm5-pins} {
	rockchip,pins = <0x0 0x14 0x1 0xf6>;
};
&{/pinctrl/pwm6/pwm6-pins} {
	rockchip,pins = <0x0 0x15 0x1 0xf6>;
};
&{/pinctrl/pwm7/pwm7-pins} {
	rockchip,pins = <0x0 0x16 0x1 0xf6>;
};
&{/pinctrl/pwm8/pwm8m0-pins} {
	rockchip,pins = <0x3 0x9 0x5 0xf6>;
};
&{/pinctrl/pwm9/pwm9m0-pins} {
	rockchip,pins = <0x3 0xa 0x5 0xf6>;
};
&{/pinctrl} {
	rk628 {

	};
};
&{/pinctrl/rk628} {
	rk628_plugin-h {
		rockchip,pins = <0x0 0x16 0x0 0xff>;
	};
};
&{/pinctrl/scr/scr-pins} {
	rockchip,pins = <0x1 0x2 0x3 0xf6 0x1 0x7 0x3 0xf8 0x1 0x3 0x3 0xf8 0x1 0x5 0x3 0xf6>;
};
&{/pinctrl/sdio-pwrseq/wifi-32k} {
	rockchip,pins = <0x2 0x16 0x1 0xf6>;
};
&{/pinctrl/sdio-pwrseq/wifi-enable-h} {
	rockchip,pins = <0x2 0x9 0x0 0xf6>;
};
&{/pinctrl/sdmmc0/sdmmc0-bus4} {
	rockchip,pins = <0x1 0x1d 0x1 0xf7 0x1 0x1e 0x1 0xf7 0x1 0x1f 0x1 0xf7 0x2 0x0 0x1 0xf7>;
};
&{/pinctrl/sdmmc0/sdmmc0-clk} {
	rockchip,pins = <0x2 0x2 0x1 0xf7>;
};
&{/pinctrl/sdmmc0/sdmmc0-cmd} {
	rockchip,pins = <0x2 0x1 0x1 0xf7>;
};
&{/pinctrl/sdmmc0/sdmmc0-det} {
	rockchip,pins = <0x0 0x4 0x1 0xf8>;
};
&{/pinctrl/sdmmc1/sdmmc1-bus4} {
	rockchip,pins = <0x2 0x3 0x1 0xf7 0x2 0x4 0x1 0xf7 0x2 0x5 0x1 0xf7 0x2 0x6 0x1 0xf7>;
};
&{/pinctrl/sdmmc1/sdmmc1-clk} {
	rockchip,pins = <0x2 0x8 0x1 0xf7>;
};
&{/pinctrl/sdmmc1/sdmmc1-cmd} {
	rockchip,pins = <0x2 0x7 0x1 0xf7>;
};
&{/pinctrl/spdif/spdifm0-tx} {
	rockchip,pins = <0x1 0x4 0x4 0xf6>;
};
&{/pinctrl/spi0-hs/spi0m0-pins} {
	rockchip,pins = <0x0 0xd 0x2 0xfc 0x0 0x15 0x2 0xfc 0x0 0xe 0x2 0xfc>;
};
&{/pinctrl/spi0/spi0m0-cs0} {
	rockchip,pins = <0x0 0x16 0x2 0xf6>;
};
&{/pinctrl/spi0/spi0m0-cs1} {
	rockchip,pins = <0x0 0x14 0x2 0xf6>;
};
&{/pinctrl/spi0/spi0m0-pins} {
	rockchip,pins = <0x0 0xd 0x2 0xf6 0x0 0x15 0x2 0xf6 0x0 0xe 0x2 0xf6>;
};
&{/pinctrl/spi1-hs/spi1m0-pins} {
	rockchip,pins = <0x2 0xd 0x3 0xfc 0x2 0xe 0x3 0xfc 0x2 0xf 0x4 0xfc>;
};
&{/pinctrl/spi1/spi1m0-cs0} {
	rockchip,pins = <0x2 0x10 0x4 0xf6>;
};
&{/pinctrl/spi1/spi1m0-cs1} {
	rockchip,pins = <0x2 0x16 0x3 0xf6>;
};
&{/pinctrl/spi1/spi1m0-pins} {
	rockchip,pins = <0x2 0xd 0x3 0xf6 0x2 0xe 0x3 0xf6 0x2 0xf 0x4 0xf6>;
};
&{/pinctrl/spi2-hs/spi2m0-pins} {
	rockchip,pins = <0x2 0x11 0x4 0xfc 0x2 0x12 0x4 0xfc 0x2 0x13 0x4 0xfc>;
};
&{/pinctrl/spi2/spi2m0-cs0} {
	rockchip,pins = <0x2 0x14 0x4 0xf6>;
};
&{/pinctrl/spi2/spi2m0-cs1} {
	rockchip,pins = <0x2 0x15 0x4 0xf6>;
};
&{/pinctrl/spi2/spi2m0-pins} {
	rockchip,pins = <0x2 0x11 0x4 0xf6 0x2 0x12 0x4 0xf6 0x2 0x13 0x4 0xf6>;
};
&{/pinctrl/spi3-hs/spi3m0-pins} {
	rockchip,pins = <0x4 0xb 0x4 0xfc 0x4 0x8 0x4 0xfc 0x4 0xa 0x4 0xfc>;
};
&{/pinctrl/spi3/spi3m0-cs0} {
	rockchip,pins = <0x4 0x6 0x4 0xf6>;
};
&{/pinctrl/spi3/spi3m0-cs1} {
	rockchip,pins = <0x4 0x7 0x4 0xf6>;
};
&{/pinctrl/spi3/spi3m0-pins} {
	rockchip,pins = <0x4 0xb 0x4 0xf6 0x4 0x8 0x4 0xf6 0x4 0xa 0x4 0xf6>;
};
&{/pinctrl/tsadc/tsadc-shutorg} {
	rockchip,pins = <0x0 0x1 0x2 0xf6>;
};
&{/pinctrl/uart0/uart0-xfer} {
	rockchip,pins = <0x0 0x10 0x3 0xf8 0x0 0x11 0x3 0xf8>;
};
&{/pinctrl/uart1/uart1m0-ctsn} {
	rockchip,pins = <0x2 0xe 0x2 0xf6>;
};
&{/pinctrl/uart1/uart1m0-rtsn} {
	rockchip,pins = <0x2 0xd 0x2 0xf6>;
};
&{/pinctrl/uart1/uart1m0-xfer} {
	rockchip,pins = <0x2 0xb 0x2 0xf8 0x2 0xc 0x2 0xf8>;
};
&{/pinctrl/uart2/uart2m0-xfer} {
	rockchip,pins = <0x0 0x18 0x1 0xf8 0x0 0x19 0x1 0xf8>;
};
&{/pinctrl/uart3/uart3m0-xfer} {
	rockchip,pins = <0x1 0x0 0x2 0xf8 0x1 0x1 0x2 0xf8>;
};
&{/pinctrl/uart4/uart4m0-xfer} {
	rockchip,pins = <0x1 0x4 0x2 0xf8 0x1 0x6 0x2 0xf8>;
};
&{/pinctrl/uart5/uart5m0-xfer} {
	rockchip,pins = <0x2 0x1 0x3 0xf8 0x2 0x2 0x3 0xf8>;
};
&{/pinctrl/uart6/uart6m0-xfer} {
	rockchip,pins = <0x2 0x3 0x3 0xf8 0x2 0x4 0x3 0xf8>;
};
&{/pinctrl/uart7/uart7m0-xfer} {
	rockchip,pins = <0x2 0x5 0x3 0xf8 0x2 0x6 0x3 0xf8>;
};
&{/pinctrl/uart8/uart8m0-xfer} {
	rockchip,pins = <0x2 0x16 0x2 0xf8 0x2 0x15 0x3 0xf8>;
};
&{/pinctrl/uart9/uart9m0-xfer} {
	rockchip,pins = <0x2 0x7 0x3 0xf8 0x2 0x8 0x3 0xf8>;
};
&{/pinctrl/usb/vcc5v0-host-en} {
	rockchip,pins = <0x0 0x6 0x0 0xf6>;
};
&{/pinctrl/usb/vcc5v0-otg-en} {
	rockchip,pins = <0x0 0x11 0x0 0xf6>;
};
&{/pinctrl/wireless-bluetooth/uart1-gpios} {
	rockchip,pins = <0x2 0xd 0x0 0xf6>;
};
&{/pinctrl/wireless-wlan/wifi-host-wake-irq} {
	rockchip,pins = <0x2 0xa 0x0 0xfe>;
};
&{/pwm@fdd70030} {
	compatible = "rockchip,remotectl-pwm";
	handle_cpu_id = <0x1>;
	pinctrl-names = "default";
	remote_pwm_id = <0x3>;
	remote_support_psci = <0x0>;
	status = "okay";
};
&{/pwm@fdd70030} {
	ir_key1 {
		rockchip,key_table = <0xab 0x2 0xe9 0x3 0xea 0x4 0xaf 0x5 0xed 0x6 0xb3 0x8 0xf1 0x9 0xf2 0xa 0xf3 0xb 0xe3 0x74 0xe7 0x8b 0xfc 0x66 0xf5 0x9e 0xb0 0x72 0xb4 0x73 0xa5 0x71 0xf9 0xe8 0xe5 0x67 0xb7 0x6c 0xb8 0x69 0xf8 0x6a 0xef 0x41 0xee 0x184 0xa2 0x57 0xa3 0x58 0xe4 0xb9 0xb6 0xba 0xa0 0xb6 0x8b 0xb8 0xbd 0xbb>;
		rockchip,usercode = <0xdf00>;
	};
};
&{/pwm@fdd70030} {
	ir_key2 {
		rockchip,key_table = <0xbf 0x74 0xb3 0x8b 0xee 0x66 0xe6 0x9e 0xef 0x72 0xe7 0x73 0xec 0xe8 0xe9 0x67 0xe5 0x6c 0xae 0x69 0xaf 0x6a 0xf0 0xbb 0xbe 0x71 0xbc 0xbc 0xff 0x184>;
		rockchip,usercode = <0xfe01>;
	};
};
&{/pwm@fdd70030} {
	ir_key3 {
		rockchip,key_table = <0xf4 0x74 0xe8 0x8b 0xbd 0x66 0xbe 0x9e 0xe3 0x72 0xf1 0x73 0xe1 0xe8 0xed 0x67 0xec 0x6c 0xea 0x69 0x7 0xb4 0xe 0xb8 0xeb 0x6a>;
		rockchip,usercode = <0xf708>;
	};
};
&{/pwm@fdd70030} {
	ir_key4 {
		rockchip,key_table = <0xe2 0x74 0xe1 0x8b 0xf1 0x66 0xf2 0x9e 0xea 0x72 0xee 0x73 0xf4 0xe8 0xf6 0x67 0xfe 0x6c 0xf5 0x69 0xf7 0x6a 0xe6 0xbb 0xfd 0x71 0xf8 0xbc 0xfa 0x184>;
		rockchip,usercode = <0xfc03>;
	};
};
&{/pwm@fdd70030} {
	ir_key5 {
		rockchip,key_table = <0xeb 0x74 0xec 0x8b 0xb7 0x66 0xa3 0x9e 0xa7 0x72 0xf4 0x73 0xf8 0xe8 0xfc 0x67 0xfd 0x6c 0xf1 0x69 0xe5 0x6a 0x6c 0xbb 0xfe 0x71 0x67 0xbc 0x7d 0x184>;
		rockchip,usercode = <0xff00>;
	};
};
&{/pwm@fdd70030} {
	ir_key6 {
		rockchip,key_table = <0xab 0x2 0xe9 0x3 0xea 0x4 0xaf 0x5 0xb3 0x8 0xf1 0x9 0xf2 0xa 0xf3 0xb 0xfd 0x74 0xe5 0x8b 0xc1 0x66 0xd2 0x9e 0xf4 0x72 0xf8 0x73 0xf0 0x71 0x97 0xe8 0x9f 0x67 0x9e 0x6c 0x9a 0x69 0x9d 0x6a 0x7d 0x184 0xa2 0x57 0xa3 0xbb 0xed 0xb9 0xef 0xba 0xa0 0xb6 0x8b 0xb8 0x77 0xbd>;
		rockchip,usercode = <0x707>;
	};
};
&{/pwm@fe6e0000} {
	status = "okay";
};
&{/pwm@fe700030} {
	/delete-property/ handle_cpu_id;
	/delete-property/ remote_pwm_id;
	/delete-property/ remote_support_psci;
	compatible = "rockchip,rk3568-pwm", "rockchip,rk3328-pwm";
	pinctrl-0 = <&{/pinctrl/pwm15/pwm15m0-pins}>;
	pinctrl-names = "active";
	status = "disabled";
};
&{/reserved-memory} {
	cma {
		compatible = "shared-dma-pool";
		inactive;
		linux,cma-default;
		reg = <0x0 0x10000000 0x0 0x800000>;
		reusable;
	};
};
&{/} {
	rk_motor {
		compatible = "rk_motor", "usb-cam-gpio";
	};
};
&{/rkisp-vir0/port/endpoint@0} {
	remote-endpoint = <&{/csi2-dphy0/ports/port@1/endpoint@0}>;
};
&{/rkvdec-opp-table} {
	nvmem-cell-names = "leakage", "pvtm";
	nvmem-cells = <&{/otp@fe38c000/log-leakage@1b}>, <&{/otp@fe38c000/core-pvtm@2a}>;
	rockchip,leakage-voltage-sel = <0x1 0x50 0x0 0x51 0xfe 0x1>;
	rockchip,pvtm-ch = <0x0 0x5>;
	rockchip,pvtm-voltage-sel = <0x0 0x14820 0x0 0x14821 0x186a0 0x1>;
};
&{/rkvdec-opp-table/opp-297000000} {
	opp-microvolt = <0xdbba0>;
	opp-microvolt-L0 = <0xdbba0>;
	opp-microvolt-L1 = <0xd59f8>;
};
&{/rkvdec@fdf80200} {
	rockchip,rcb-min-width = <0x200>;
};
&{/rkvenc-opp-table/opp-297000000} {
	opp-microvolt = <0xdbba0>;
	opp-microvolt-L0 = <0xdbba0>;
	opp-microvolt-L1 = <0xd59f8>;
	opp-microvolt-L2 = <0xd59f8>;
};
&{/rkvenc-opp-table/opp-400000000} {
	opp-microvolt-L2 = <0xdbba0>;
};
&{/} {
	rockchip-i2s-sound {
		compatible = "simple-audio-card";
		simple-audio-card,format = "i2s";
		simple-audio-card,mclk-fs = <0x100>;
		simple-audio-card,name = "rockchip,rockchip-i2s-sound";
		status = "okay";
	};
};
&{/rockchip-i2s-sound} {
	simple-audio-card,codec {
		sound-dai = <&{/dummy-codec}>;
	};
};
&{/rockchip-i2s-sound} {
	simple-audio-card,cpu {
		sound-dai = <&{/i2s@fe410000}>;
	};
};
&{/sata@fc800000} {
	status = "disabled";
};
&{/sdhci@fe310000} {
	max-frequency = <0x8f0d180>;
	mmc-hs200-1_8v;
};
&{/} {
	seekwcn_boot {
		compatible = "seekwave,sv6160";
		dma_type = <0x1>;
		gpio_chip_en = <0x10c 0x9 0x0>;
		gpio_chip_wake = <0x10c 0xa 0x0>;
		gpio_host_wake = <0x10c 0xf 0x1>;
		status = "okay";
		sv6160_dram_path = "/vendor/etc/firmware/RAM_RW_KERNEL_DRAM";
		sv6160_iram_path = "/vendor/etc/firmware/ROM_EXEC_KERNEL_IRAM";
		sv6160_path = "/vendor/bin/sv6160.bin";
	};
};
&{/spdif-out} {
	status = "disabled";
};
&{/spdif-sound} {
	status = "disabled";
};
&{/spdif@fe460000} {
	status = "disabled";
};
&{/syscon@fdc20000/io-domains} {
	vccio4-supply = <&{/vcc_1v8}>;
	vccio6-supply = <&{/vcc_1v8}>;
};
&{/syscon@fdc60000/lvds} {
	status = "okay";
};
&{/syscon@fdc60000/lvds/ports/port@0/endpoint@1} {
	status = "okay";
};
&{/syscon@fdc60000/lvds/ports} {
	port@1 {
		reg = <0x1>;
	};
};
&{/syscon@fdc60000/lvds/ports/port@1} {
	endpoint {
		remote-endpoint = <&{/panel/ports/port@0/endpoint}>;
	};
};
&{/tsadc@fe710000} {
	#address-cells = <0x1>;
	#size-cells = <0x0>;
	nvmem-cell-names = "trim_base", "trim_base_frac";
	nvmem-cells = <&{/otp@fe38c000/tsadc-trim-base@32}>, <&{/otp@fe38c000/tsadc-trim-base-frac@31}>;
};
&{/tsadc@fe710000} {
	tsadc@0 {
		nvmem-cell-names = "trim_l", "trim_h";
		nvmem-cells = <&{/otp@fe38c000/cpu-tsadc-trim-l@2e}>, <&{/otp@fe38c000/cpu-tsadc-trim-h@2f}>;
		reg = <0x0>;
	};
};
&{/tsadc@fe710000} {
	tsadc@1 {
		nvmem-cell-names = "trim_l", "trim_h";
		nvmem-cells = <&{/otp@fe38c000/npu-tsadc-trim-l@30}>, <&{/otp@fe38c000/npu-tsadc-trim-h@31}>;
		reg = <0x1>;
	};
};
&{/usb2-phy@fe8b0000/host-port} {
	status = "disabled";
};
&{/usb2-phy@fe8b0000/otg-port} {
	status = "disabled";
};
&{/usb@fd800000} {
	status = "disabled";
};
&{/usb@fd840000} {
	status = "disabled";
};
&{/usb@fd880000} {
	status = "disabled";
};
&{/usb@fd8c0000} {
	status = "disabled";
};
&{/usbdrd/dwc3@fcc00000} {
	dr_mode = "host";
};
&{/vcc5v0-otg-regulator} {
	gpio = <&{/pinctrl/gpio@fdd60000} 0x11 0x0>;
};
&{/vdd-cpu} {
	regulator-init-microvolt = <0xf4240>;
};
&{/vdd-fixed} {
	regulator-max-microvolt = <0xf4240>;
	regulator-min-microvolt = <0xf4240>;
};
&{/wireless-bluetooth} {
	BT,reset_gpio = <0x10c 0xf 0x0>;
	BT,wake_gpio = <0x10c 0x11 0x0>;
	BT,wake_host_irq = <0x10c 0x10 0x0>;
	uart_rts_gpios = <0x10c 0xd 0x1>;
};
&{/wireless-wlan} {
	WIFI,host_wake_irq = <0x10c 0xa 0x0>;
};
&{/xin32k} {
	/delete-property/ pinctrl-0;
};
